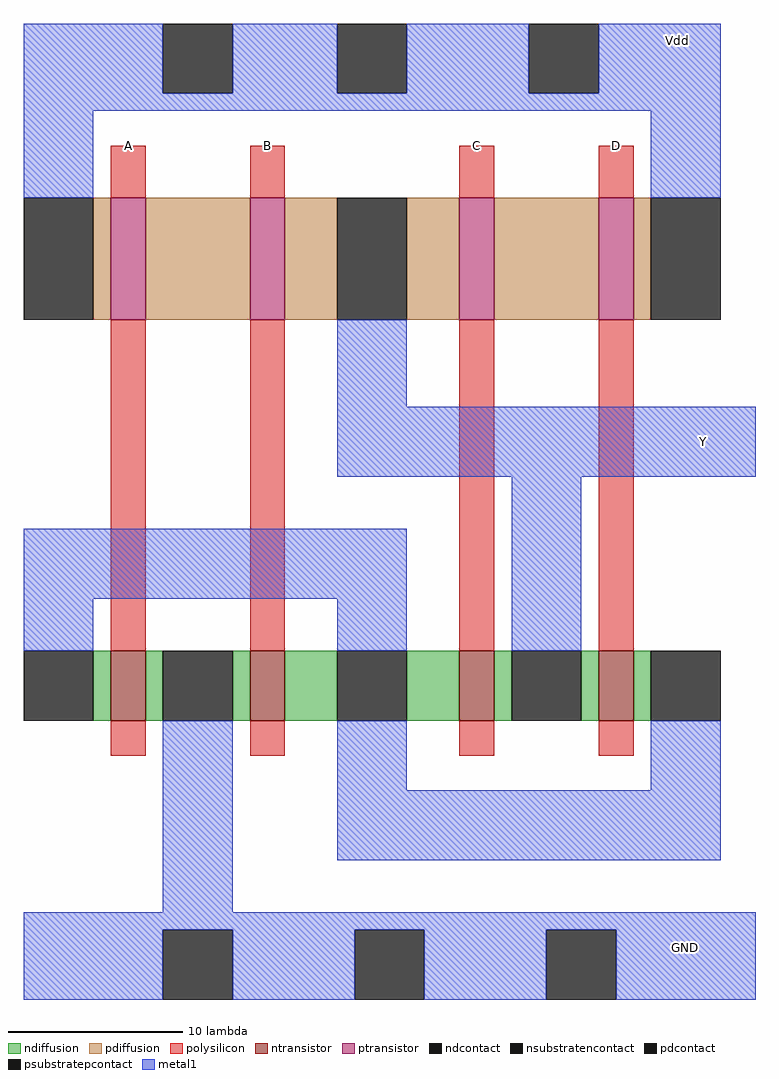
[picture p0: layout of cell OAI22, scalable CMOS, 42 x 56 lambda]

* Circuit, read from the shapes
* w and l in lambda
.subckt OAI22 A B C D GND Vdd Y
M1 GND A n1 GND nfet w=4 l=2
M2 n1 B GND GND nfet w=4 l=2
M3 Y C n1 GND nfet w=4 l=2
M4 n1 D Y GND nfet w=4 l=2
M5 n2 A Vdd Vdd pfet w=7 l=2
M6 Y B n2 Vdd pfet w=7 l=2
M7 n3 C Y Vdd pfet w=7 l=2
M8 Vdd D n3 Vdd pfet w=7 l=2
.ends

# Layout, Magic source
magic
tech scmos
<< polysilicon >>
rect -28 1 -26 4
rect -20 1 -18 4
rect -8 1 -6 4
rect 0 1 2 4
rect -28 -25 -26 -6
rect -20 -25 -18 -6
rect -8 -25 -6 -6
rect 0 -25 2 -6
rect -28 -31 -26 -29
rect -20 -31 -18 -29
rect -8 -31 -6 -29
rect 0 -31 2 -29
<< ndiffusion >>
rect -29 -29 -28 -25
rect -26 -29 -25 -25
rect -21 -29 -20 -25
rect -18 -29 -15 -25
rect -11 -29 -8 -25
rect -6 -29 -5 -25
rect -1 -29 0 -25
rect 2 -29 3 -25
<< pdiffusion >>
rect -29 -6 -28 1
rect -26 -6 -20 1
rect -18 -6 -15 1
rect -11 -6 -8 1
rect -6 -6 0 1
rect 2 -6 3 1
<< metal1 >>
rect -33 7 -25 11
rect -21 7 -15 11
rect -11 7 -4 11
rect 0 7 7 11
rect -33 6 7 7
rect -33 1 -29 6
rect 3 1 7 6
rect -15 -11 -11 -6
rect -15 -15 9 -11
rect -33 -22 -11 -18
rect -33 -25 -29 -22
rect -15 -25 -11 -22
rect -25 -40 -21 -29
rect -5 -25 -1 -15
rect -15 -33 -11 -29
rect 3 -33 7 -29
rect -15 -37 7 -33
rect -33 -41 9 -40
rect -33 -45 -25 -41
rect -21 -45 -14 -41
rect -10 -45 -3 -41
rect 1 -45 9 -41
<< ntransistor >>
rect -28 -29 -26 -25
rect -20 -29 -18 -25
rect -8 -29 -6 -25
rect 0 -29 2 -25
<< ptransistor >>
rect -28 -6 -26 1
rect -20 -6 -18 1
rect -8 -6 -6 1
rect 0 -6 2 1
<< ndcontact >>
rect -33 -29 -29 -25
rect -25 -29 -21 -25
rect -15 -29 -11 -25
rect -5 -29 -1 -25
rect 3 -29 7 -25
<< pdcontact >>
rect -33 -6 -29 1
rect -15 -6 -11 1
rect 3 -6 7 1
<< psubstratepcontact >>
rect -25 -45 -21 -41
rect -14 -45 -10 -41
rect -3 -45 1 -41
<< nsubstratencontact >>
rect -25 7 -21 11
rect -15 7 -11 11
rect -4 7 0 11
<< labels >>
rlabel polysilicon -20 4 -18 4 1 B
rlabel polysilicon -28 4 -26 4 1 A
rlabel metal1 5 -43 5 -41 1 GND
rlabel polysilicon -8 4 -6 4 1 C
rlabel polysilicon 0 4 2 4 1 D
rlabel metal1 4 10 5 10 6 Vdd
rlabel metal1 6 -14 6 -12 7 Y
<< end >>
